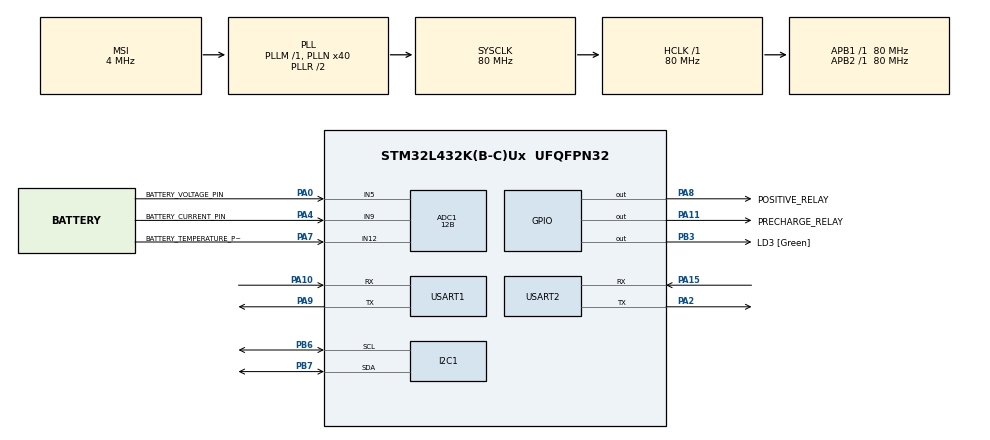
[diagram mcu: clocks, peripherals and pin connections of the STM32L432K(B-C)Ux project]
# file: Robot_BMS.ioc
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ADC1.Channel-0\#ChannelRegularConversion=ADC_CHANNEL_5
ADC1.Channel-1\#ChannelRegularConversion=ADC_CHANNEL_9
ADC1.Channel-2\#ChannelRegularConversion=ADC_CHANNEL_12
ADC1.ContinuousConvMode=ENABLE
ADC1.DMAContinuousRequests=ENABLE
ADC1.NbrOfConversion=3
ADC1.NbrOfConversionFlag=1
ADC1.OffsetNumber-0\#ChannelRegularConversion=ADC_OFFSET_NONE
ADC1.OffsetNumber-1\#ChannelRegularConversion=ADC_OFFSET_NONE
ADC1.OffsetNumber-2\#ChannelRegularConversion=ADC_OFFSET_NONE
ADC1.Rank-0\#ChannelRegularConversion=1
ADC1.Rank-1\#ChannelRegularConversion=2
ADC1.Rank-2\#ChannelRegularConversion=3
ADC1.Resolution=ADC_RESOLUTION_12B
ADC1.SamplingTime-0\#ChannelRegularConversion=ADC_SAMPLETIME_92CYCLES_5
ADC1.SamplingTime-1\#ChannelRegularConversion=ADC_SAMPLETIME_92CYCLES_5
ADC1.SamplingTime-2\#ChannelRegularConversion=ADC_SAMPLETIME_92CYCLES_5
ADC1.master=1
Dma.ADC1.0.Direction=DMA_PERIPH_TO_MEMORY
Dma.ADC1.0.Instance=DMA1_Channel1
Dma.ADC1.0.MemDataAlignment=DMA_MDATAALIGN_HALFWORD
Dma.ADC1.0.MemInc=DMA_MINC_ENABLE
Dma.ADC1.0.Mode=DMA_CIRCULAR
Dma.ADC1.0.PeriphDataAlignment=DMA_PDATAALIGN_HALFWORD
Dma.ADC1.0.PeriphInc=DMA_PINC_DISABLE
Dma.ADC1.0.Priority=DMA_PRIORITY_LOW
Dma.Request0=ADC1
I2C1.OwnAddress=0x17
I2C1.Timing=0x10909CEC
Mcu.Family=STM32L4
Mcu.Name=STM32L432K(B-C)Ux
Mcu.Package=UFQFPN32
NVIC.DMA1_Channel1_IRQn=true\:0\:0\:false\:false\:true\:false\:true\:true
NVIC.I2C1_EV_IRQn=true\:0\:0\:false\:false\:true\:true\:true\:true
NVIC.PriorityGroup=NVIC_PRIORITYGROUP_4
NVIC.USART1_IRQn=true\:0\:0\:false\:false\:true\:true\:true\:true
NVIC.USART2_IRQn=true\:0\:0\:false\:false\:true\:true\:true\:true
PA0.GPIO_Label=BATTERY_VOLTAGE_PIN
PA0.Signal=ADCx_IN5
PA10.Mode=Asynchronous
PA10.Signal=USART1_RX
PA11.GPIO_Label=PRECHARGE_RELAY
PA11.Signal=GPIO_Output
PA13\ (JTMS-SWDIO).GPIO_Label=SWDIO
PA13\ (JTMS-SWDIO).Signal=SYS_JTMS-SWDIO
PA14\ (JTCK-SWCLK).GPIO_Label=SWCLK
PA14\ (JTCK-SWCLK).Signal=SYS_JTCK-SWCLK
PA15\ (JTDI).Mode=Asynchronous
PA15\ (JTDI).Signal=USART2_RX
PA2.Mode=Asynchronous
PA2.Signal=USART2_TX
PA4.GPIO_Label=BATTERY_CURRENT_PIN
PA4.Signal=ADCx_IN9
PA7.GPIO_Label=BATTERY_TEMPERATURE_PIN
PA7.Signal=ADCx_IN12
PA8.GPIO_Label=POSITIVE_RELAY
PA8.Signal=GPIO_Output
PA9.Mode=Asynchronous
PA9.Signal=USART1_TX
PB3\ (JTDO-TRACESWO).GPIO_Label=LD3 [Green]
PB3\ (JTDO-TRACESWO).Signal=GPIO_Output
PB6.GPIO_Pu=GPIO_PULLUP
PB6.Mode=I2C
PB6.Signal=I2C1_SCL
PB7.GPIO_Pu=GPIO_PULLUP
PB7.Mode=I2C
PB7.Signal=I2C1_SDA
PC14-OSC32_IN\ (PC14).Signal=RCC_OSC32_IN
PC15-OSC32_OUT\ (PC15).Signal=RCC_OSC32_OUT
ProjectManager.HeapSize=0x200
ProjectManager.StackSize=0x400
ProjectManager.TargetToolchain=STM32CubeIDE
RCC.ADCCLockSelection=RCC_ADCCLKSOURCE_SYSCLK
RCC.ADCFreq_Value=80000000
RCC.AHBFreq_Value=80000000
RCC.APB1Freq_Value=80000000
RCC.APB1TimFreq_Value=80000000
RCC.APB2Freq_Value=80000000
RCC.APB2TimFreq_Value=80000000
RCC.CortexFreq_Value=80000000
RCC.HCLKFreq_Value=80000000
RCC.HSE_VALUE=8000000
RCC.HSI16_VALUE=16000000
RCC.HSI48_VALUE=48000000
RCC.HSI_VALUE=16000000
RCC.LSE_VALUE=32768
RCC.MSI_VALUE=4000000
RCC.PLLMUL=RCC_PLLMUL_4
RCC.PLLN=40
RCC.PLLSAI1N=16
RCC.SYSCLKFreq_VALUE=80000000
RCC.SYSCLKSource=RCC_SYSCLKSOURCE_PLLCLK
RCC.USBFreq_Value=32000000
RCC.VCOOutputFreq_Value=160000000
SH.ADCx_IN12.0=ADC1_IN12,IN12-Single-Ended
SH.ADCx_IN5.0=ADC1_IN5,IN5-Single-Ended
SH.ADCx_IN9.0=ADC1_IN9,IN9-Single-Ended
TIM6.AutoReloadPreload=TIM_AUTORELOAD_PRELOAD_DISABLE
TIM6.Period=65536-1
TIM6.Prescaler=80-1
TIM6.TIM_MasterOutputTrigger=TIM_TRGO_RESET
USART1.VirtualMode-Asynchronous=VM_ASYNC
USART2.VirtualMode-Asynchronous=VM_ASYNC
VP_TIM6_VS_ClockSourceINT.Mode=Enable_Timer
board=NUCLEO-L432KC

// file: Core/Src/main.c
/* USER CODE BEGIN Header */
/**
 ******************************************************************************
 * @file           : main.c
 * @brief          : Main program body
 ******************************************************************************
 * @attention
 *
 * Copyright (c) 2023 STMicroelectronics.
 * All rights reserved.
 *
 * This software is licensed under terms that can be found in the LICENSE file
 * in the root directory of this software component.
 * If no LICENSE file comes with this software, it is provided AS-IS.
 *
 ******************************************************************************
 */
/* USER CODE END Header */
#include "main.h"

/* USER CODE BEGIN Includes */
#include "RC_Model_KF_Vout_Vcb_for_MCU_CUSTOM.h"  /* Simulink Model header file */
#include <stdlib.h>
#include <string.h>
#include <stdio.h>
#include <math.h>
/* USER CODE END Includes */

/* USER CODE BEGIN PD */
#define TESTING 0
#define NUMBER_OF_SAMPLES 15
#define NUMBER_OF_MEASURES 3
#define ADC_BUFFER_LEN NUMBER_OF_SAMPLES*NUMBER_OF_MEASURES
#define V_I_REF 1.647
#define V_GAIN 1.008856088
#define I_GAIN 1.006723716
#define R1 100000
#define ROUT 12000
#define I2C_RX_BUFFER_SIZE 20
#define I2C_RESPONSE_HEADER 'B'
#define I2C_MEASURES 6
#define SAMPLING_TIME_MS 100
/* USER CODE END PD */

ADC_HandleTypeDef hadc1;
DMA_HandleTypeDef hdma_adc1;

I2C_HandleTypeDef hi2c1;

TIM_HandleTypeDef htim6;

UART_HandleTypeDef huart1;
UART_HandleTypeDef huart2;

/* USER CODE BEGIN PV */
/* UART Variables */
uint8_t rx_buffer[1]; //UART input byte
char input_data[50]; // String build byte by byte
char output_data[50]; // UART output string
char *token; // Variable for string split
/* Elapsed time Variables */
uint32_t t0 = 0; //Sampling time timer
uint32_t contactor_timer = 0;
uint16_t start_time = 0;
uint16_t elapsed_time = 0; // soc estimation elapsed time
uint8_t process_data = 0; //Flag to start processing data
uint32_t beat = 0; // Variable for heartbeat;
/* ADC Variables */
uint16_t adc_buffer[ADC_BUFFER_LEN]; // adc buffer
uint8_t adc_dma_complete = 0;
/* SoC  Variables */
float current = 0;
float voltage = 0;
float temperature = 0;
/* I2C Variables */
uint8_t i2c_rx_buffer[I2C_RX_BUFFER_SIZE];
char i2c_tx_buffer[I2C_RX_BUFFER_SIZE];
uint8_t master_reads = 0;
uint8_t master_writes = 0;
int i2c_counter = 0;
// I2C Bytes to send and structure (12);
typedef struct soc_measurement {
	uint8_t MSB, LSB;
} soc_measurement;
soc_measurement i2c_measurements[I2C_MEASURES];
/* Contactor Variables*/
typedef enum {
	off, precharge, positive, on
} CONTACTOR_STATES;
typedef enum {
	idle, i2c_start_request, precharge_cplt, positive_cplt
} CONTACTOR_EVENTS;
CONTACTOR_STATES contactor_state = off;
CONTACTOR_EVENTS contactor_transition = idle;
/* USER CODE END PV */

void SystemClock_Config(void);
static void MX_GPIO_Init(void);
static void MX_DMA_Init(void);
static void MX_ADC1_Init(void);
static void MX_I2C1_Init(void);
static void MX_USART1_UART_Init(void);
static void MX_USART2_UART_Init(void);
static void MX_TIM6_Init(void);
/* USER CODE BEGIN PFP */
void process_adc_buffer();
void create_i2c_buffer();
soc_measurement int_to_byte(float value);
soc_measurement uint_to_byte(uint16_t value);
void HIL_simulation();
void soc_estimator();
void contactors_control();
/* USER CODE END PFP */

int main(void)
{

  /* MCU Configuration--------------------------------------------------------*/

  /* Reset of all peripherals, Initializes the Flash interface and the Systick. */
  HAL_Init();

  /* USER CODE BEGIN Init */
  RC_Model_KF_Vout_Vcb_for_MCU_CUSTOM_initialize();//Simulink Model initialization
  /* USER CODE END Init */

  /* Configure the system clock */
  SystemClock_Config();

  /* Initialize all configured peripherals */
  MX_GPIO_Init();
  MX_DMA_Init();
  MX_ADC1_Init();
  MX_I2C1_Init();
  MX_USART1_UART_Init();
  MX_USART2_UART_Init();
  MX_TIM6_Init();
  /* USER CODE BEGIN 2 */
	HAL_ADCEx_Calibration_Start(&hadc1, ADC_SINGLE_ENDED); // ADC self-calibration routine, before starting ADC
	HAL_UART_Receive_IT(&huart2, rx_buffer, 1); //Wait for UART communication
	HAL_I2C_EnableListen_IT(&hi2c1);
	; //Enable the address listen mode in slave mode
	HAL_ADC_Start_DMA(&hadc1, (uint32_t*) adc_buffer, ADC_BUFFER_LEN); // Start ADC conversion with transfer by DMA
	HAL_TIM_Base_Start(&htim6); //start timer 6 with interruptions
	create_i2c_buffer(); // Initialize the buffer to sent with 0
	t0 = HAL_GetTick(); // reset sampling time timer
	//Close both contactors
	HAL_GPIO_WritePin(PRECHARGE_RELAY_GPIO_Port, PRECHARGE_RELAY_Pin,
			GPIO_PIN_RESET);
	HAL_GPIO_WritePin(POSITIVE_RELAY_GPIO_Port, POSITIVE_RELAY_Pin,
			GPIO_PIN_RESET);
  /* USER CODE END 2 */

  /* Infinite loop */
  /* USER CODE BEGIN WHILE */
	while (1) {

		Heartbeat();
		// I2C Request has been received.
		if (master_writes == 1) {
			master_writes = 0; // clean flag
			// Master requested to write/transmit, then slave receive
			HAL_I2C_Slave_Seq_Receive_IT(&hi2c1, i2c_rx_buffer,
			I2C_RX_BUFFER_SIZE, I2C_FIRST_FRAME);
		} else if (master_reads == 1) {
			master_reads = 0; // clean flag
			//Master requested to read/receive, then the slave transmit
			//1. Build data to send.
			create_i2c_buffer();
			// 2. Slave transmit buffer with data
			HAL_I2C_Slave_Seq_Transmit_IT(&hi2c1, (uint8_t*) i2c_tx_buffer,
			I2C_RX_BUFFER_SIZE, I2C_FIRST_FRAME);
			// Let's check if contactors are connected
			if (contactor_state == off && i2c_rx_buffer[0] == 'B') {
				// contactors are off let's set the flag to start driver connection
				contactor_transition = i2c_start_request;
			}
		}

		contactors_control();

		// Proccess adc data when dma transfer is complete
		if (adc_dma_complete == 1) {
			process_adc_buffer();
			adc_dma_complete = 0;
		}

		// Estimate SoC every 100ms
		if (HAL_GetTick() - t0 >= SAMPLING_TIME_MS) {
			t0 = HAL_GetTick();
			soc_estimator();
		}

//		HIL_simulation();

    /* USER CODE END WHILE */

	}
}

void SystemClock_Config(void)
{
  RCC_OscInitTypeDef RCC_OscInitStruct = {0};
  RCC_ClkInitTypeDef RCC_ClkInitStruct = {0};

  /** Configure the main internal regulator output voltage
  */
  if (HAL_PWREx_ControlVoltageScaling(PWR_REGULATOR_VOLTAGE_SCALE1) != HAL_OK)
  {
    Error_Handler();
  }

  /** Initializes the RCC Oscillators according to the specified parameters
  * in the RCC_OscInitTypeDef structure.
  */
  RCC_OscInitStruct.OscillatorType = RCC_OSCILLATORTYPE_MSI;
  RCC_OscInitStruct.MSIState = RCC_MSI_ON;
  RCC_OscInitStruct.MSICalibrationValue = 0;
  RCC_OscInitStruct.MSIClockRange = RCC_MSIRANGE_6;
  RCC_OscInitStruct.PLL.PLLState = RCC_PLL_ON;
  RCC_OscInitStruct.PLL.PLLSource = RCC_PLLSOURCE_MSI;
  RCC_OscInitStruct.PLL.PLLM = 1;
  RCC_OscInitStruct.PLL.PLLN = 40;
  RCC_OscInitStruct.PLL.PLLP = RCC_PLLP_DIV7;
  RCC_OscInitStruct.PLL.PLLQ = RCC_PLLQ_DIV2;
  RCC_OscInitStruct.PLL.PLLR = RCC_PLLR_DIV2;
  if (HAL_RCC_OscConfig(&RCC_OscInitStruct) != HAL_OK)
  {
    Error_Handler();
  }

  /** Initializes the CPU, AHB and APB buses clocks
  */
  RCC_ClkInitStruct.ClockType = RCC_CLOCKTYPE_HCLK|RCC_CLOCKTYPE_SYSCLK
                              |RCC_CLOCKTYPE_PCLK1|RCC_CLOCKTYPE_PCLK2;
  RCC_ClkInitStruct.SYSCLKSource = RCC_SYSCLKSOURCE_PLLCLK;
  RCC_ClkInitStruct.AHBCLKDivider = RCC_SYSCLK_DIV1;
  RCC_ClkInitStruct.APB1CLKDivider = RCC_HCLK_DIV1;
  RCC_ClkInitStruct.APB2CLKDivider = RCC_HCLK_DIV1;

  if (HAL_RCC_ClockConfig(&RCC_ClkInitStruct, FLASH_LATENCY_4) != HAL_OK)
  {
    Error_Handler();
  }
}

static void MX_ADC1_Init(void)
{

  ADC_ChannelConfTypeDef sConfig = {0};

  /** Common config
  */
  hadc1.Instance = ADC1;
  hadc1.Init.ClockPrescaler = ADC_CLOCK_ASYNC_DIV1;
  hadc1.Init.Resolution = ADC_RESOLUTION_12B;
  hadc1.Init.DataAlign = ADC_DATAALIGN_RIGHT;
  hadc1.Init.ScanConvMode = ADC_SCAN_ENABLE;
  hadc1.Init.EOCSelection = ADC_EOC_SINGLE_CONV;
  hadc1.Init.LowPowerAutoWait = DISABLE;
  hadc1.Init.ContinuousConvMode = ENABLE;
  hadc1.Init.NbrOfConversion = 3;
  hadc1.Init.DiscontinuousConvMode = DISABLE;
  hadc1.Init.ExternalTrigConv = ADC_SOFTWARE_START;
  hadc1.Init.ExternalTrigConvEdge = ADC_EXTERNALTRIGCONVEDGE_NONE;
  hadc1.Init.DMAContinuousRequests = ENABLE;
  hadc1.Init.Overrun = ADC_OVR_DATA_PRESERVED;
  hadc1.Init.OversamplingMode = DISABLE;
  if (HAL_ADC_Init(&hadc1) != HAL_OK)
  {
    Error_Handler();
  }

  /** Configure Regular Channel
  */
  sConfig.Channel = ADC_CHANNEL_5;
  sConfig.Rank = ADC_REGULAR_RANK_1;
  sConfig.SamplingTime = ADC_SAMPLETIME_640CYCLES_5;
  sConfig.SingleDiff = ADC_SINGLE_ENDED;
  sConfig.OffsetNumber = ADC_OFFSET_NONE;
  sConfig.Offset = 0;
  if (HAL_ADC_ConfigChannel(&hadc1, &sConfig) != HAL_OK)
  {
    Error_Handler();
  }

  /** Configure Regular Channel
  */
  sConfig.Channel = ADC_CHANNEL_9;
  sConfig.Rank = ADC_REGULAR_RANK_2;
  if (HAL_ADC_ConfigChannel(&hadc1, &sConfig) != HAL_OK)
  {
    Error_Handler();
  }

  /** Configure Regular Channel
  */
  sConfig.Channel = ADC_CHANNEL_12;
  sConfig.Rank = ADC_REGULAR_RANK_3;
  if (HAL_ADC_ConfigChannel(&hadc1, &sConfig) != HAL_OK)
  {
    Error_Handler();
  }

}

static void MX_I2C1_Init(void)
{

  hi2c1.Instance = I2C1;
  hi2c1.Init.Timing = 0x10909CEC;
  hi2c1.Init.OwnAddress1 = 46;
  hi2c1.Init.AddressingMode = I2C_ADDRESSINGMODE_7BIT;
  hi2c1.Init.DualAddressMode = I2C_DUALADDRESS_DISABLE;
  hi2c1.Init.OwnAddress2 = 0;
  hi2c1.Init.OwnAddress2Masks = I2C_OA2_NOMASK;
  hi2c1.Init.GeneralCallMode = I2C_GENERALCALL_DISABLE;
  hi2c1.Init.NoStretchMode = I2C_NOSTRETCH_DISABLE;
  if (HAL_I2C_Init(&hi2c1) != HAL_OK)
  {
    Error_Handler();
  }

  /** Configure Analogue filter
  */
  if (HAL_I2CEx_ConfigAnalogFilter(&hi2c1, I2C_ANALOGFILTER_ENABLE) != HAL_OK)
  {
    Error_Handler();
  }

  /** Configure Digital filter
  */
  if (HAL_I2CEx_ConfigDigitalFilter(&hi2c1, 0) != HAL_OK)
  {
    Error_Handler();
  }

}

static void MX_TIM6_Init(void)
{

  TIM_MasterConfigTypeDef sMasterConfig = {0};

  htim6.Instance = TIM6;
  htim6.Init.Prescaler = 80-1;
  htim6.Init.CounterMode = TIM_COUNTERMODE_UP;
  htim6.Init.Period = 65536-1;
  htim6.Init.AutoReloadPreload = TIM_AUTORELOAD_PRELOAD_DISABLE;
  if (HAL_TIM_Base_Init(&htim6) != HAL_OK)
  {
    Error_Handler();
  }
  sMasterConfig.MasterOutputTrigger = TIM_TRGO_RESET;
  sMasterConfig.MasterSlaveMode = TIM_MASTERSLAVEMODE_DISABLE;
  if (HAL_TIMEx_MasterConfigSynchronization(&htim6, &sMasterConfig) != HAL_OK)
  {
    Error_Handler();
  }

}

static void MX_USART1_UART_Init(void)
{

  huart1.Instance = USART1;
  huart1.Init.BaudRate = 115200;
  huart1.Init.WordLength = UART_WORDLENGTH_8B;
  huart1.Init.StopBits = UART_STOPBITS_1;
  huart1.Init.Parity = UART_PARITY_NONE;
  huart1.Init.Mode = UART_MODE_TX_RX;
  huart1.Init.HwFlowCtl = UART_HWCONTROL_NONE;
  huart1.Init.OverSampling = UART_OVERSAMPLING_16;
  huart1.Init.OneBitSampling = UART_ONE_BIT_SAMPLE_DISABLE;
  huart1.AdvancedInit.AdvFeatureInit = UART_ADVFEATURE_NO_INIT;
  if (HAL_UART_Init(&huart1) != HAL_OK)
  {
    Error_Handler();
  }

}

static void MX_USART2_UART_Init(void)
{

  huart2.Instance = USART2;
  huart2.Init.BaudRate = 115200;
  huart2.Init.WordLength = UART_WORDLENGTH_8B;
  huart2.Init.StopBits = UART_STOPBITS_1;
  huart2.Init.Parity = UART_PARITY_NONE;
  huart2.Init.Mode = UART_MODE_TX_RX;
  huart2.Init.HwFlowCtl = UART_HWCONTROL_NONE;
  huart2.Init.OverSampling = UART_OVERSAMPLING_16;
  huart2.Init.OneBitSampling = UART_ONE_BIT_SAMPLE_DISABLE;
  huart2.AdvancedInit.AdvFeatureInit = UART_ADVFEATURE_NO_INIT;
  if (HAL_UART_Init(&huart2) != HAL_OK)
  {
    Error_Handler();
  }

}

static void MX_DMA_Init(void)
{

  /* DMA controller clock enable */
  __HAL_RCC_DMA1_CLK_ENABLE();

  /* DMA interrupt init */
  /* DMA1_Channel1_IRQn interrupt configuration */
  HAL_NVIC_SetPriority(DMA1_Channel1_IRQn, 0, 0);
  HAL_NVIC_EnableIRQ(DMA1_Channel1_IRQn);

}

static void MX_GPIO_Init(void)
{
  GPIO_InitTypeDef GPIO_InitStruct = {0};

  /* GPIO Ports Clock Enable */
  __HAL_RCC_GPIOC_CLK_ENABLE();
  __HAL_RCC_GPIOA_CLK_ENABLE();
  __HAL_RCC_GPIOB_CLK_ENABLE();

  /*Configure GPIO pin Output Level */
  HAL_GPIO_WritePin(GPIOA, POSITIVE_RELAY_Pin|PRECHARGE_RELAY_Pin, GPIO_PIN_RESET);

  /*Configure GPIO pin Output Level */
  HAL_GPIO_WritePin(LD3_GPIO_Port, LD3_Pin, GPIO_PIN_RESET);

  /*Configure GPIO pins : POSITIVE_RELAY_Pin PRECHARGE_RELAY_Pin */
  GPIO_InitStruct.Pin = POSITIVE_RELAY_Pin|PRECHARGE_RELAY_Pin;
  GPIO_InitStruct.Mode = GPIO_MODE_OUTPUT_PP;
  GPIO_InitStruct.Pull = GPIO_NOPULL;
  GPIO_InitStruct.Speed = GPIO_SPEED_FREQ_LOW;
  HAL_GPIO_Init(GPIOA, &GPIO_InitStruct);

  /*Configure GPIO pin : LD3_Pin */
  GPIO_InitStruct.Pin = LD3_Pin;
  GPIO_InitStruct.Mode = GPIO_MODE_OUTPUT_PP;
  GPIO_InitStruct.Pull = GPIO_NOPULL;
  GPIO_InitStruct.Speed = GPIO_SPEED_FREQ_LOW;
  HAL_GPIO_Init(LD3_GPIO_Port, &GPIO_InitStruct);

}

/* USER CODE BEGIN 4 */
void HAL_UART_RxCpltCallback(UART_HandleTypeDef *huart) {
	if (rx_buffer[0] != '\r') {
		// Read the byte/char and add it to the data variable if there is no \r
		strcat(input_data, (char*) rx_buffer);
		HAL_UART_Receive_IT(&huart2, rx_buffer, 1); //we are still waiting for more data, we will continuo reading
	} else {
		//We get the line terminator, then process the data and send
		process_data = 1;
	}
}

void HAL_UART_TxCpltCallback(UART_HandleTypeDef *huart) {
	process_data = 0; // the input data has been processed and send
	HAL_UART_Receive_IT(&huart2, rx_buffer, 1);
}

void Heartbeat() {
	if (HAL_GetTick() - beat > 250) {
		HAL_GPIO_TogglePin(GPIOB, GPIO_PIN_3);
		beat = HAL_GetTick();
	}
}

// DMA callback functions
// Called when first half of buffer is filled
void HAL_ADC_ConvHalfCpltCallback(ADC_HandleTypeDef *hadc) {

}

// Called when buffer is completely filled
void HAL_ADC_ConvCpltCallback(ADC_HandleTypeDef *hadc) {
	adc_dma_complete = 1;
}

/* Process ADC Buffer Function */
float voltage_temp = 0; // For debug purposes
float current_temp = 0; // for debug purposes
float temperature_temp = 0; // for debug purposes
void process_adc_buffer() {
	float sum_current = 0;
	float sum_voltage = 0;
	float sum_temperature = 0;
	float Rtemp = 0;
	for (int i = 0; i < NUMBER_OF_MEASURES * NUMBER_OF_SAMPLES; i = i + 3) {
		sum_voltage += adc_buffer[i] * 3.312 / 4096.0;
		sum_current += adc_buffer[i + 1] * 3.312 / 4096.0;
		sum_temperature += adc_buffer[i + 2] * 3.312 / 4096.0;
	}
	current_temp = (sum_current / NUMBER_OF_SAMPLES)*I_GAIN;
	current_temp = -(((sum_current / NUMBER_OF_SAMPLES)*(I_GAIN))-V_I_REF)*40;//for estimation output current must be negative
	if(current_temp>-0.1 && current_temp<0.1){
		current = 0;
	}else{
		current = current_temp;
	}
	voltage_temp = (sum_voltage / NUMBER_OF_SAMPLES)*V_GAIN;
	voltage = (sum_voltage / NUMBER_OF_SAMPLES)*V_GAIN*(R1+ROUT)/ROUT;
	sum_temperature = sum_temperature / NUMBER_OF_SAMPLES;
	temperature_temp = sum_temperature;
	Rtemp = (R1*(sum_temperature))/(4.98-sum_temperature); // Get Sensor Resistance
	temperature = -21.71*log(Rtemp)+227.31; //Temperature = -21.71*ln(Rtemp)+227.31
}

void HAL_I2C_AddrCallback(I2C_HandleTypeDef *hi2c, uint8_t TransferDirection,
		uint16_t AddrMatchCode) {
	//Check if the master is reading or writing.
	if (TransferDirection == I2C_DIRECTION_TRANSMIT) {
		master_writes = 1;
	} else if (TransferDirection == I2C_DIRECTION_RECEIVE) {
		master_reads = 1;
	}
}

void HAL_I2C_SlaveRxCpltCallback(I2C_HandleTypeDef *hi2c) {

}

void HAL_I2C_SlaveTxCpltCallback(I2C_HandleTypeDef *hi2c) {
}

/* I2C processing functions */
void create_i2c_buffer() {
// Create an array with the variables
	float measurements_temp[6] = { rtU.current, rtU.voltage, temperature/10,
			rtY.soc_estimated, rtY.soc_measured, elapsed_time };

//filling the array of soc_measurment
	for (int i = 0; i < I2C_MEASURES; i++) {
		if (i != 5) {
			i2c_measurements[i] = int_to_byte(measurements_temp[i]);
			i2c_tx_buffer[i * 2] = i2c_measurements[i].MSB;
			i2c_tx_buffer[(i * 2) + 1] = i2c_measurements[i].LSB;
		} else {
			// elapsed_time is a uint16, then convertion is different;
			i2c_measurements[i] = uint_to_byte(measurements_temp[i]);
			i2c_tx_buffer[i * 2] = i2c_measurements[i].MSB;
			i2c_tx_buffer[(i * 2) + 1] = i2c_measurements[i].LSB;
		}
	}
}

soc_measurement int_to_byte(float value) {
	int16_t temp_int = value * 1000;
	soc_measurement measure;
	measure.MSB = temp_int >> 8; // Most Significant Byte
	measure.LSB = temp_int & 0xFF; // Less significant Byte
	return measure;
}

soc_measurement uint_to_byte(uint16_t value) {
	uint16_t temp_int = value;
	soc_measurement measure;
	measure.MSB = temp_int >> 8; // Most Significant Byte
	measure.LSB = temp_int & 0xFF; // Less significant Byte
	return measure;
}

/* Hardware In the Loop simulation */
void HIL_simulation() {
	// This block of code send the data to the serial port when the current and voltage signals are received via serial.
	if (process_data == 1) {
		// UART input data is ready to be processed
		if (TESTING) {
			HAL_UART_Transmit_IT(&huart2, (uint8_t*) input_data,
					sizeof(input_data));
		}
		start_time = __HAL_TIM_GET_COUNTER(&htim6);
		//time_start = __HAL_TIM_GET_COUNTER(&htim6); // Timer 1us precision
		token = strtok(input_data, ";");
		rtU.current = atof(token);
		while (token != NULL) {
			token = strtok(NULL, " ");
			if (token != NULL) {
				rtU.voltage = atof(token);
			}
		}
		RC_Model_KF_Vout_Vcb_for_MCU_CUSTOM_step();
		elapsed_time = __HAL_TIM_GET_COUNTER(&htim6) - start_time;
		sprintf(output_data, "%d;%.4f;%.4f;%.4f;%.4f\r", elapsed_time,
				rtY.soc_estimated, rtY.voltage_estimated[0], rtU.current,
				rtU.voltage); //voltage_estimated[0]=Vt voltage_estimated[1]=Vcb
		process_data = 0; //The input data has been processed
		HAL_UART_Transmit_IT(&huart2, (uint8_t*) output_data,
				sizeof(output_data));
		memset(input_data, 0, strlen(input_data)); //clean input data
		process_data = 0; // We have processed the data, we have to wait for the arrival of new data.
	}
}

void soc_estimator() {
	rtU.current = current;
	rtU.voltage = voltage;
	start_time = __HAL_TIM_GET_COUNTER(&htim6); // Get current time
//	HAL_Delay(9);
	RC_Model_KF_Vout_Vcb_for_MCU_CUSTOM_step();
	elapsed_time = __HAL_TIM_GET_COUNTER(&htim6) - start_time;
}

void contactors_control() {
	GPIO_PinState precharge_pin_state = HAL_GPIO_ReadPin(
			PRECHARGE_RELAY_GPIO_Port, PRECHARGE_RELAY_Pin);
	GPIO_PinState positive_pin_state = HAL_GPIO_ReadPin(
			POSITIVE_RELAY_GPIO_Port, POSITIVE_RELAY_Pin);
	//Transitions
	if (contactor_state == precharge
			&& (HAL_GetTick() - contactor_timer) >= 1000 && current < 3
			&& precharge_pin_state == 1 && positive_pin_state == 0) {
		//Driver has been precharged
		contactor_transition = precharge_cplt;
		contactor_timer = HAL_GetTick(); //Set timer to wait 1s;
	}

	if (contactor_state == positive && (HAL_GetTick() - contactor_timer) >= 250
			&& precharge_pin_state == 1 && positive_pin_state == 1) {
		contactor_transition = positive_cplt;
	}
	// Contactors' control
	switch (contactor_state) {
	case off:
		if (contactor_transition == i2c_start_request) {
			contactor_state = precharge;
			contactor_timer = HAL_GetTick(); //Set timer to wait 1s;
		}
		break;
	case precharge:
		//Let's close the precharge contactor and let the positive contactor open
		HAL_GPIO_WritePin(PRECHARGE_RELAY_GPIO_Port, PRECHARGE_RELAY_Pin,
				GPIO_PIN_SET);
		HAL_GPIO_WritePin(POSITIVE_RELAY_GPIO_Port, POSITIVE_RELAY_Pin,
				GPIO_PIN_RESET);
		if (contactor_transition == precharge_cplt) {
			contactor_state = positive;
		}
		break;
	case positive:
		HAL_GPIO_WritePin(PRECHARGE_RELAY_GPIO_Port, PRECHARGE_RELAY_Pin,
				GPIO_PIN_SET);
		HAL_GPIO_WritePin(POSITIVE_RELAY_GPIO_Port, POSITIVE_RELAY_Pin,
				GPIO_PIN_SET);
		if (contactor_transition == positive_cplt) {
			contactor_state = on;
		}
		break;
	case on:
		HAL_GPIO_WritePin(PRECHARGE_RELAY_GPIO_Port, PRECHARGE_RELAY_Pin,
				GPIO_PIN_RESET);
		HAL_GPIO_WritePin(POSITIVE_RELAY_GPIO_Port, POSITIVE_RELAY_Pin,
				GPIO_PIN_SET);
		break;
	}
}
/* USER CODE END 4 */

void Error_Handler(void)
{
	__disable_irq();
	while (1) {
	}
}
